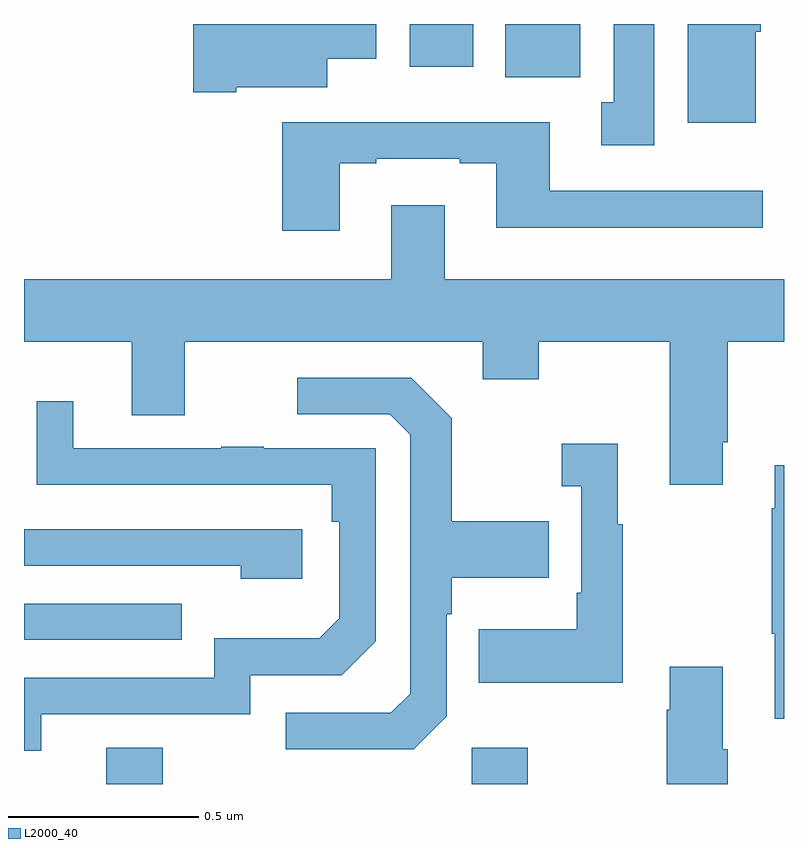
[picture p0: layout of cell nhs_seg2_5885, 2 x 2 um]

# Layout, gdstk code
import gdstk
lib = gdstk.Library(unit=1e-6, precision=1e-09)
def R(c, l, rs):  # rectangles x0, y0, x1, y1
    for r in rs: c.add(gdstk.rectangle(r[:2], r[2:], *l))
def P(c, l, *ps):  # polygons
    for p in ps: c.add(gdstk.Polygon(p, *l))
L2000_40 = (2000, 40)

nhs_seg2_5885 = lib.new_cell('nhs_seg2_5885')
R(nhs_seg2_5885, L2000_40, [(184.217,651.8,184.365,651.895), (185.178,651.8,185.325,651.895), (184,652.179,184.415,652.275), (185.267,653.66,185.464,653.8), (185.015,653.688,185.182,653.8)])
P(nhs_seg2_5885, L2000_40, [(185.926,653.78),(185.939,653.78),(185.939,653.8),(185.747,653.8),(185.747,653.54),(185.926,653.54)],
  [(185.659,653.8),(185.552,653.8),(185.552,653.594),(185.519,653.594),(185.519,653.481),(185.659,653.481)],
  [(184.558,653.633),(184.798,653.633),(184.798,653.708),(184.927,653.708),(184.927,653.8),(184.446,653.8),(184.446,653.621),(184.558,653.621)],
  [(184.831,653.433),(184.927,653.433),(184.927,653.445),(185.147,653.445),(185.147,653.433),(185.243,653.433),(185.243,653.264),(185.944,653.264),(185.944,653.361),(185.383,653.361),(185.383,653.542),(184.679,653.542),(184.679,653.256),(184.831,653.256)],
  [(185.839,652.699),(185.852,652.699),(185.852,652.964),(186,652.964),(186,653.128),(185.107,653.128),(185.107,653.323),(184.967,653.323),(184.967,653.128),(184,653.128),(184,652.964),(184.283,652.964),(184.283,652.77),(184.423,652.77),(184.423,652.964),(185.207,652.964),(185.207,652.865),(185.355,652.865),(185.355,652.964),(185.699,652.964),(185.699,652.587),(185.839,652.587)],
  [(185.112,651.978),(185.112,652.247),(185.125,652.247),(185.125,652.343),(185.381,652.343),(185.381,652.491),(185.125,652.491),(185.125,652.763),(185.019,652.869),(184.719,652.869),(184.719,652.773),(184.962,652.773),(185.016,652.719),(185.016,652.038),(184.965,651.987),(184.689,651.987),(184.689,651.891),(185.025,651.891)],
  [(184.045,651.984),(184.596,651.984),(184.596,652.086),(184.836,652.086),(184.926,652.176),(184.926,652.683),(184.631,652.683),(184.631,652.688),(184.519,652.688),(184.519,652.683),(184.129,652.683),(184.129,652.807),(184.033,652.807),(184.033,652.588),(184.135,652.588),(184.135,652.587),(184.81,652.587),(184.81,652.49),(184.83,652.49),(184.83,652.236),(184.777,652.183),(184.5,652.183),(184.5,652.08),(184,652.08),(184,651.888),(184.045,651.888)],
  [(185.575,652.483),(185.563,652.483),(185.563,652.696),(185.415,652.696),(185.415,652.583),(185.466,652.583),(185.466,652.303),(185.454,652.303),(185.454,652.207),(185.197,652.207),(185.197,652.067),(185.575,652.067)],
  [(186,652.639),(185.975,652.639),(185.975,652.526),(185.968,652.526),(185.968,652.195),(185.975,652.195),(185.975,651.972),(186,651.972)],
  [(184.732,652.47),(184,652.47),(184,652.374),(184.571,652.374),(184.571,652.34),(184.732,652.34)],
  [(185.852,651.892),(185.839,651.892),(185.839,652.108),(185.699,652.108),(185.699,651.995),(185.692,651.995),(185.692,651.8),(185.852,651.8)])

lib.write_gds('nhs_seg2_5885.gds')
